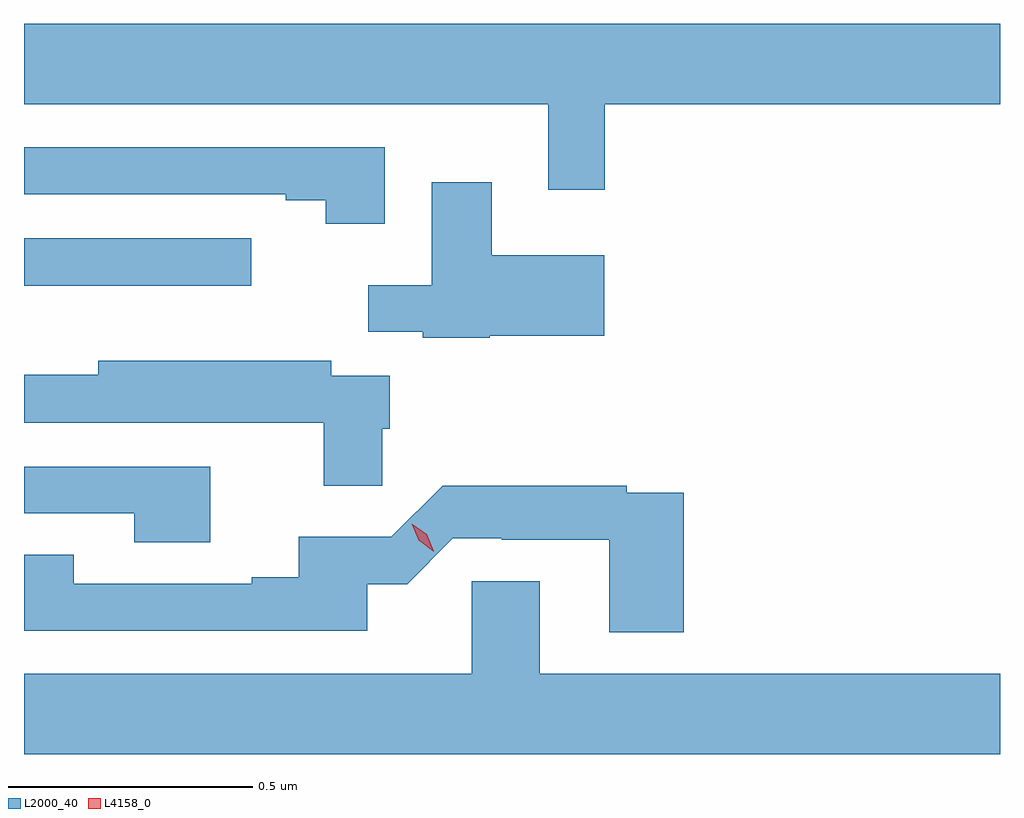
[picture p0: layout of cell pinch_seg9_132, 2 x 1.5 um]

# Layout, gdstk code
import gdstk
lib = gdstk.Library(unit=1e-6, precision=1e-09)
def R(c, l, rs):  # rectangles x0, y0, x1, y1
    for r in rs: c.add(gdstk.rectangle(r[:2], r[2:], *l))
def P(c, l, *ps):  # polygons
    for p in ps: c.add(gdstk.Polygon(p, *l))
L2000_40 = (2000, 40)
L4158_0 = (4158, 0)

pinch_seg9_132 = lib.new_cell('pinch_seg9_132')
R(pinch_seg9_132, L2000_40, [(801,1218.692,801.466,1218.789)])
P(pinch_seg9_132, L2000_40, [(802.19,1219.064),(803,1219.064),(803,1219.228),(801,1219.228),(801,1219.064),(802.074,1219.064),(802.074,1218.888),(802.19,1218.888)],
  [(801.739,1218.975),(801,1218.975),(801,1218.879),(801.536,1218.879),(801.536,1218.867),(801.618,1218.867),(801.618,1218.819),(801.739,1218.819)],
  [(801.954,1218.589),(802.189,1218.589),(802.189,1218.754),(801.958,1218.754),(801.958,1218.904),(801.836,1218.904),(801.836,1218.693),(801.705,1218.693),(801.705,1218.597),(801.817,1218.597),(801.817,1218.585),(801.954,1218.585)],
  [(801.734,1218.399),(801.749,1218.399),(801.749,1218.507),(801.63,1218.507),(801.63,1218.538),(801.152,1218.538),(801.152,1218.509),(801,1218.509),(801,1218.411),(801.614,1218.411),(801.614,1218.282),(801.734,1218.282)],
  [(801.382,1218.321),(801,1218.321),(801,1218.225),(801.226,1218.225),(801.226,1218.166),(801.382,1218.166)],
  [(802.352,1218.267),(802.235,1218.267),(802.235,1218.282),(801.858,1218.282),(801.753,1218.177),(801.563,1218.177),(801.563,1218.094),(801.467,1218.094),(801.467,1218.081),(801.102,1218.081),(801.102,1218.14),(801,1218.14),(801,1217.985),(801.703,1217.985),(801.703,1218.08),(801.785,1218.08),(801.879,1218.174),(801.979,1218.174),(801.979,1218.171),(802.199,1218.171),(802.199,1217.982),(802.352,1217.982)],
  [(803,1217.896),(802.057,1217.896),(802.057,1218.086),(801.918,1218.086),(801.918,1217.896),(801,1217.896),(801,1217.732),(803,1217.732)])
P(pinch_seg9_132, L4158_0, [(801.839,1218.148),(801.809,1218.17),(801.795,1218.204),(801.795,1218.204),(801.795,1218.204),(801.825,1218.182),(801.84,1218.148),(801.84,1218.148)])

lib.write_gds('pinch_seg9_132.gds')
